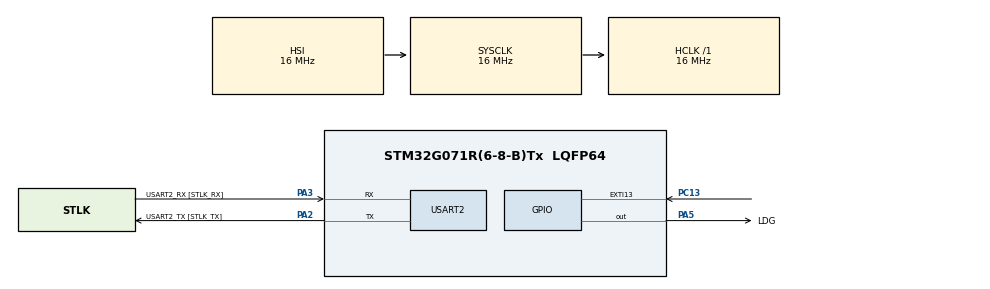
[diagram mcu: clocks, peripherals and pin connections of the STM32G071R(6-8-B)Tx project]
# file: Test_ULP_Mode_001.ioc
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Mcu.Family=STM32G0
Mcu.Name=STM32G071R(6-8-B)Tx
Mcu.Package=LQFP64
NVIC.EXTI4_15_IRQn=true\:0\:0\:false\:false\:true\:true\:true\:true
PA13.GPIO_Label=TMS
PA13.Mode=Serial_Wire
PA13.Signal=SYS_SWDIO
PA14-BOOT0.GPIO_Label=TCK
PA14-BOOT0.Mode=Serial_Wire
PA14-BOOT0.Signal=SYS_SWCLK
PA2.GPIO_Label=USART2_TX [STLK_TX]
PA2.GPIO_PuPd=GPIO_PULLUP
PA2.Mode=Asynchronous
PA2.Signal=USART2_TX
PA3.GPIO_Label=USART2_RX [STLK_RX]
PA3.GPIO_PuPd=GPIO_PULLUP
PA3.Mode=Asynchronous
PA3.Signal=USART2_RX
PA5.GPIO_Label=LDG
PA5.GPIO_Speed=GPIO_SPEED_FREQ_HIGH
PA5.Signal=GPIO_Output
PC13.GPIO_ModeDefaultEXTI=GPIO_MODE_IT_FALLING
PC13.Signal=GPXTI13
PC14-OSC32_IN\ (PC14).Mode=LSE-External-Oscillator
PC14-OSC32_IN\ (PC14).Signal=RCC_OSC32_IN
PC15-OSC32_OUT\ (PC15).Mode=LSE-External-Oscillator
PC15-OSC32_OUT\ (PC15).Signal=RCC_OSC32_OUT
PF0-OSC_IN\ (PF0).GPIO_Label=MCO
PF0-OSC_IN\ (PF0).Mode=HSE-External-Clock-Source
PF0-OSC_IN\ (PF0).Signal=RCC_OSC_IN
ProjectManager.HeapSize=0x200
ProjectManager.StackSize=0x400
ProjectManager.TargetToolchain=STM32CubeIDE
RCC.AHBFreq_Value=16000000
RCC.CortexFreq_Value=16000000
RCC.EXTERNAL_CLOCK_VALUE=12288000
RCC.HCLKFreq_Value=16000000
RCC.HSE_VALUE=8000000
RCC.HSI_VALUE=16000000
RCC.SYSCLKFreq_VALUE=16000000
RCC.VCOOutputFreq_Value=128000000
USART2.VirtualMode-Asynchronous=VM_ASYNC
board=NUCLEO-G071RB

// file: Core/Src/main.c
/* USER CODE BEGIN Header */
/**
  ******************************************************************************
  * @file           : main.c
  * @brief          : Main program body
  ******************************************************************************
  * @attention
  *
  * Copyright (c) 2023 STMicroelectronics.
  * All rights reserved.
  *
  * This software is licensed under terms that can be found in the LICENSE file
  * in the root directory of this software component.
  * If no LICENSE file comes with this software, it is provided AS-IS.
  *
  ******************************************************************************
  */
/* USER CODE END Header */
#include "main.h"

/* USER CODE BEGIN Includes */
#include <string.h>
#include <stdbool.h>
/* USER CODE END Includes */

/* USER CODE BEGIN PD */
#define HUART_USB						&huart2
#define UART_TX_MAX_BUFF_SIZE			1000
/* USER CODE END PD */

UART_HandleTypeDef huart2;

/* USER CODE BEGIN PV */
uint32_t x = 0 ;
bool it = false ;
/* USER CODE END PV */

void SystemClock_Config(void);
static void MX_GPIO_Init(void);
static void MX_USART2_UART_Init(void);
/* USER CODE BEGIN PFP */
void send_debug_logs ( char* ) ;
/* USER CODE END PFP */

int main(void)
{

  /* MCU Configuration--------------------------------------------------------*/

  /* Reset of all peripherals, Initializes the Flash interface and the Systick. */
  HAL_Init();

  /* Configure the system clock */
  SystemClock_Config();

  /* Initialize all configured peripherals */
  MX_GPIO_Init();
  MX_USART2_UART_Init();
  /* USER CODE BEGIN 2 */
  send_debug_logs ( "Hello Test_ULP_Mode_001!" ) ;
  x = 33 ;

  /* USER CODE END 2 */

  /* Infinite loop */
  /* USER CODE BEGIN WHILE */
  while (1)
  {
	  if ( it == true )
	  {
		  HAL_Delay ( 10000 ) ;
		  it = false ;
	  }
	  //HAL_PWR_EnterSTOPMode ( PWR_MAINREGULATOR_ON , PWR_STOPENTRY_WFI ) ;
	  HAL_PWR_EnterSTOPMode ( PWR_LOWPOWERREGULATOR_ON , PWR_STOPENTRY_WFE ) ;

    /* USER CODE END WHILE */

  }
}

void SystemClock_Config(void)
{
  RCC_OscInitTypeDef RCC_OscInitStruct = {0};
  RCC_ClkInitTypeDef RCC_ClkInitStruct = {0};

  /** Configure the main internal regulator output voltage
  */
  HAL_PWREx_ControlVoltageScaling(PWR_REGULATOR_VOLTAGE_SCALE1);

  /** Initializes the RCC Oscillators according to the specified parameters
  * in the RCC_OscInitTypeDef structure.
  */
  RCC_OscInitStruct.OscillatorType = RCC_OSCILLATORTYPE_HSI;
  RCC_OscInitStruct.HSIState = RCC_HSI_ON;
  RCC_OscInitStruct.HSIDiv = RCC_HSI_DIV1;
  RCC_OscInitStruct.HSICalibrationValue = RCC_HSICALIBRATION_DEFAULT;
  RCC_OscInitStruct.PLL.PLLState = RCC_PLL_NONE;
  if (HAL_RCC_OscConfig(&RCC_OscInitStruct) != HAL_OK)
  {
    Error_Handler();
  }

  /** Initializes the CPU, AHB and APB buses clocks
  */
  RCC_ClkInitStruct.ClockType = RCC_CLOCKTYPE_HCLK|RCC_CLOCKTYPE_SYSCLK
                              |RCC_CLOCKTYPE_PCLK1;
  RCC_ClkInitStruct.SYSCLKSource = RCC_SYSCLKSOURCE_HSI;
  RCC_ClkInitStruct.AHBCLKDivider = RCC_SYSCLK_DIV1;
  RCC_ClkInitStruct.APB1CLKDivider = RCC_HCLK_DIV1;

  if (HAL_RCC_ClockConfig(&RCC_ClkInitStruct, FLASH_LATENCY_0) != HAL_OK)
  {
    Error_Handler();
  }
}

static void MX_USART2_UART_Init(void)
{

  huart2.Instance = USART2;
  huart2.Init.BaudRate = 115200;
  huart2.Init.WordLength = UART_WORDLENGTH_8B;
  huart2.Init.StopBits = UART_STOPBITS_1;
  huart2.Init.Parity = UART_PARITY_NONE;
  huart2.Init.Mode = UART_MODE_TX_RX;
  huart2.Init.HwFlowCtl = UART_HWCONTROL_NONE;
  huart2.Init.OverSampling = UART_OVERSAMPLING_16;
  huart2.Init.OneBitSampling = UART_ONE_BIT_SAMPLE_DISABLE;
  huart2.Init.ClockPrescaler = UART_PRESCALER_DIV1;
  huart2.AdvancedInit.AdvFeatureInit = UART_ADVFEATURE_NO_INIT;
  if (HAL_UART_Init(&huart2) != HAL_OK)
  {
    Error_Handler();
  }
  if (HAL_UARTEx_SetTxFifoThreshold(&huart2, UART_TXFIFO_THRESHOLD_1_8) != HAL_OK)
  {
    Error_Handler();
  }
  if (HAL_UARTEx_SetRxFifoThreshold(&huart2, UART_RXFIFO_THRESHOLD_1_8) != HAL_OK)
  {
    Error_Handler();
  }
  if (HAL_UARTEx_DisableFifoMode(&huart2) != HAL_OK)
  {
    Error_Handler();
  }

}

static void MX_GPIO_Init(void)
{
  GPIO_InitTypeDef GPIO_InitStruct = {0};

  /* GPIO Ports Clock Enable */
  __HAL_RCC_GPIOC_CLK_ENABLE();
  __HAL_RCC_GPIOF_CLK_ENABLE();
  __HAL_RCC_GPIOA_CLK_ENABLE();

  /*Configure GPIO pin Output Level */
  HAL_GPIO_WritePin(LDG_GPIO_Port, LDG_Pin, GPIO_PIN_RESET);

  /*Configure GPIO pin : PC13 */
  GPIO_InitStruct.Pin = GPIO_PIN_13;
  GPIO_InitStruct.Mode = GPIO_MODE_IT_FALLING;
  GPIO_InitStruct.Pull = GPIO_NOPULL;
  HAL_GPIO_Init(GPIOC, &GPIO_InitStruct);

  /*Configure GPIO pin : LDG_Pin */
  GPIO_InitStruct.Pin = LDG_Pin;
  GPIO_InitStruct.Mode = GPIO_MODE_OUTPUT_PP;
  GPIO_InitStruct.Pull = GPIO_NOPULL;
  GPIO_InitStruct.Speed = GPIO_SPEED_FREQ_HIGH;
  HAL_GPIO_Init(LDG_GPIO_Port, &GPIO_InitStruct);

  /* EXTI interrupt init*/
  HAL_NVIC_SetPriority(EXTI4_15_IRQn, 0, 0);
  HAL_NVIC_EnableIRQ(EXTI4_15_IRQn);

}

/* USER CODE BEGIN 4 */
void send_debug_logs ( char* p_tx_buffer )
{
    uint32_t length = strlen ( p_tx_buffer ) ;

    if ( length > UART_TX_MAX_BUFF_SIZE )
    {
        HAL_UART_Transmit ( HUART_USB , ( uint8_t* ) "[ERROR] UART buffer reached max length.\n" , 42 , 1000 ) ;
        length = UART_TX_MAX_BUFF_SIZE;
    }

    HAL_UART_Transmit ( HUART_USB , ( uint8_t* ) p_tx_buffer , length , 1000 ) ;
    HAL_UART_Transmit ( HUART_USB , ( uint8_t* ) "\n" , 1 , 1000 ) ;
}

void HAL_GPIO_EXTI_Falling_Callback ( uint16_t GPIO_Pin )
{
	if ( GPIO_Pin == GPIO_PIN_13 )
	{
		x++ ;
		HAL_GPIO_TogglePin ( LDG_GPIO_Port , LDG_Pin ) ;
		send_debug_logs ( (char*) &x ) ;
		it = true ;
	}
}
/* USER CODE END 4 */

void Error_Handler(void)
{
  __disable_irq();
  while (1)
  {
  }
}
